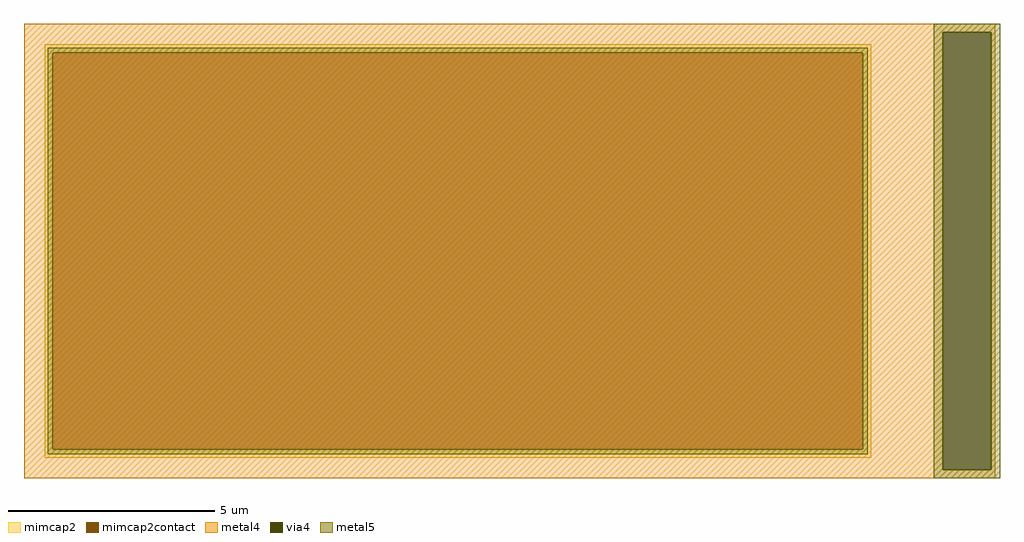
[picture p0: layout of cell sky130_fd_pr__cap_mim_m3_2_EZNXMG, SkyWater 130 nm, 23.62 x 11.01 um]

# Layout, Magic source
magic
tech sky130B
magscale 1 2
<< metal4 >>
rect -2351 1059 2351 1100
rect -2351 -1059 2095 1059
rect 2331 -1059 2351 1059
rect -2351 -1100 2351 -1059
<< via4 >>
rect 2095 -1059 2331 1059
<< mimcap2 >>
rect -2251 960 1749 1000
rect -2251 -960 -2211 960
rect 1709 -960 1749 960
rect -2251 -1000 1749 -960
<< mimcap2contact >>
rect -2211 -960 1709 960
<< metal5 >>
rect 2053 1059 2373 1101
rect -2235 960 1733 984
rect -2235 -960 -2211 960
rect 1709 -960 1733 960
rect -2235 -984 1733 -960
rect 2053 -1059 2095 1059
rect 2331 -1059 2373 1059
rect 2053 -1101 2373 -1059
<< properties >>
string FIXED_BBOX -2351 -1100 1849 1100
string gencell sky130_fd_pr__cap_mim_m3_2
string library sky130
string parameters w 20 l 10 val 411.4 carea 2.00 cperi 0.19 nx 1 ny 1 dummy 0 square 0 lmin 2.00 wmin 2.00 lmax 30.0 wmax 30.0 dc 0 bconnect 1 tconnect 1 ccov 100
<< end >>
